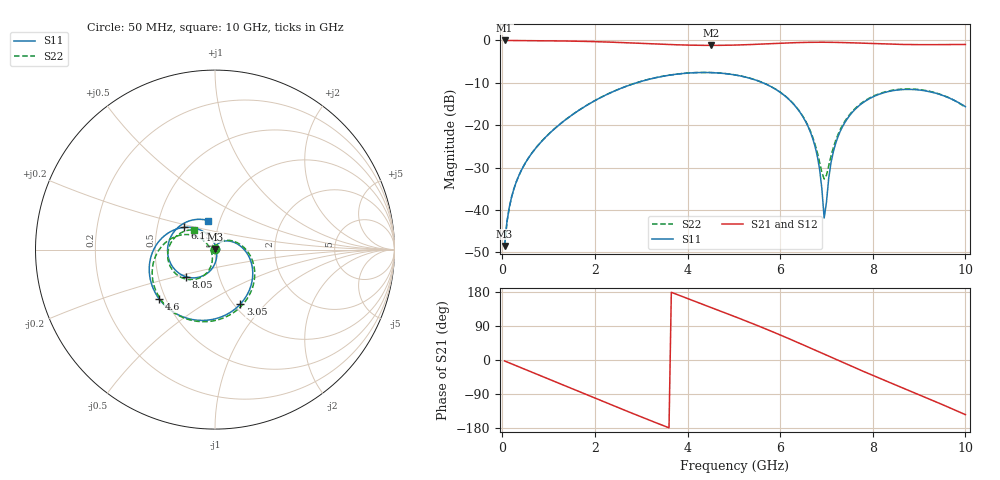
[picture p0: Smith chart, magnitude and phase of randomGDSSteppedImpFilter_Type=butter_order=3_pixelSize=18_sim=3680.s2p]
! freq	dB(S11)	phase(S11)	dB(S12)	phase(S12)
!  dB(S21)	phase(S21)	dB(S22)	phase(S22)
!S-par simulation data
#  GHz  S  DB  R 50
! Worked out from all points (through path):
!   200 points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, 50 MHz to 10 GHz, reference 50 ohm
!   highest |S21| = -0.01 dB at 50 MHz (marker M1); lowest = -1.2 dB at 4.5 GHz (marker M2)
!   group delay of S21, straight-line fit = 139 ps
!   lowest |S11| = -48.5 dB at 50 MHz (marker M3), VSWR 1.01, Z = 50.1 + j0.369 ohm
!   |S11| at or under -10 dB: start of sweep to 2.899 GHz; 5.627 GHz to end of sweep
!   |S22| runs from -48.6 to -7.6 dB; largest |S21 - S12| = 0
!   S11 on the Smith chart (normalised r, x): 50 MHz: 1.00, +0.01; 3.05 GHz: 1.07, -0.73; 4.6 GHz: 0.46, -0.31; 6.15 GHz: 0.69, +0.18; 8.05 GHz: 0.69, -0.22; 10 GHz: 0.88, +0.29
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0.05  -48.53 80.1  -0.01 -2.5  -0.01 -2.5  -48.56 79.7
0.2  -37.01 77.1  -0.02 -10.1  -0.02 -10.1  -37.00 77.8
0.45  -29.85 65.9  -0.04 -22.6  -0.04 -22.6  -29.84 67.3
1.15  -20.64 30.8  -0.10 -57.7  -0.10 -57.7  -20.63 33.8
1.75  -15.81 0.3  -0.22 -87.9  -0.22 -87.9  -15.80 4.1
2.35  -12.29 -30.2  -0.41 -118.0  -0.41 -118.0  -12.27 -25.7
3.05  -9.51 -65.0  -0.72 -152.6  -0.72 -152.6  -9.50 -60.0
3.4  -8.60 -81.9  -0.88 -169.5  -0.88 -169.5  -8.59 -76.6
4.5  -7.59 -133.7  -1.17 138.9  -1.17 138.9  -7.58 -127.1
4.6  -7.64 -138.4  -1.17 134.2  -1.17 134.2  -7.63 -131.6
5.05  -8.19 -159.7  -1.09 113.1  -1.09 113.1  -8.18 -151.9
6.15  -13.53 144.1  -0.60 58.4  -0.60 58.4  -13.49 157.8
6.7  -23.05 110.2  -0.44 29.0  -0.44 29.0  -22.74 141.5
6.85  -30.27 94.1  -0.43 20.8  -0.43 20.8  -28.66 153.8
6.95  -41.92 35.3  -0.43 15.4  -0.43 15.4  -32.70 -165.4
7.1  -28.76 -74.8  -0.44 7.3  -0.44 7.3  -27.22 -110.0
7.25  -22.69 -89.0  -0.47 -0.9  -0.47 -0.9  -22.17 -103.1
7.55  -17.07 -108.4  -0.56 -16.9  -0.56 -16.9  -16.86 -110.6
8.05  -13.09 -137.1  -0.76 -43.2  -0.76 -43.2  -12.96 -132.3
8.35  -12.04 -153.8  -0.87 -58.5  -0.87 -58.5  -11.92 -146.2
9.2  -12.04 157.5  -1.00 -101.9  -1.00 -101.9  -11.94 174.2
10  -15.64 102.8  -0.95 -144.3  -0.95 -144.3  -15.80 137.5
